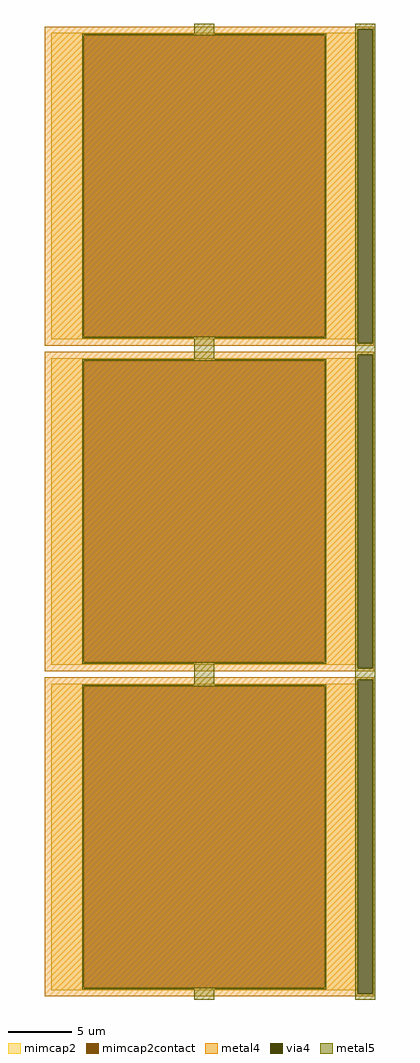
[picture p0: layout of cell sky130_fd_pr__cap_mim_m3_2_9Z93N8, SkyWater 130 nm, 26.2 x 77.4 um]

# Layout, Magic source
magic
tech sky130A
magscale 1 2
<< metal4 >>
rect -2609 7649 2609 7690
rect -2609 2671 2353 7649
rect 2589 2671 2609 7649
rect -2609 2630 2609 2671
rect -2609 2489 2609 2530
rect -2609 -2489 2353 2489
rect 2589 -2489 2609 2489
rect -2609 -2530 2609 -2489
rect -2609 -2671 2609 -2630
rect -2609 -7649 2353 -2671
rect 2589 -7649 2609 -2671
rect -2609 -7690 2609 -7649
<< via4 >>
rect 2353 2671 2589 7649
rect 2353 -2489 2589 2489
rect 2353 -7649 2589 -2671
<< mimcap2 >>
rect -2509 7550 2351 7590
rect -2509 2770 -1991 7550
rect 1833 2770 2351 7550
rect -2509 2730 2351 2770
rect -2509 2390 2351 2430
rect -2509 -2390 -1991 2390
rect 1833 -2390 2351 2390
rect -2509 -2430 2351 -2390
rect -2509 -2770 2351 -2730
rect -2509 -7550 -1991 -2770
rect 1833 -7550 2351 -2770
rect -2509 -7590 2351 -7550
<< mimcap2contact >>
rect -1991 2770 1833 7550
rect -1991 -2390 1833 2390
rect -1991 -7550 1833 -2770
<< metal5 >>
rect -239 7574 81 7740
rect 2311 7649 2631 7740
rect -2015 7550 1857 7574
rect -2015 2770 -1991 7550
rect 1833 2770 1857 7550
rect -2015 2746 1857 2770
rect -239 2414 81 2746
rect 2311 2671 2353 7649
rect 2589 2671 2631 7649
rect 2311 2489 2631 2671
rect -2015 2390 1857 2414
rect -2015 -2390 -1991 2390
rect 1833 -2390 1857 2390
rect -2015 -2414 1857 -2390
rect -239 -2746 81 -2414
rect 2311 -2489 2353 2489
rect 2589 -2489 2631 2489
rect 2311 -2671 2631 -2489
rect -2015 -2770 1857 -2746
rect -2015 -7550 -1991 -2770
rect 1833 -7550 1857 -2770
rect -2015 -7574 1857 -7550
rect -239 -7740 81 -7574
rect 2311 -7649 2353 -2671
rect 2589 -7649 2631 -2671
rect 2311 -7740 2631 -7649
<< properties >>
string FIXED_BBOX -2609 2630 2451 7690
string gencell sky130_fd_pr__cap_mim_m3_2
string library sky130
string parameters w 24.3 l 24.3 val 1.199k carea 2.00 cperi 0.19 nx 1 ny 3 dummy 0 square 0 lmin 2.00 wmin 2.00 lmax 30.0 wmax 30.0 dc 0 bconnect 1 tconnect 1 ccov 80
<< end >>
